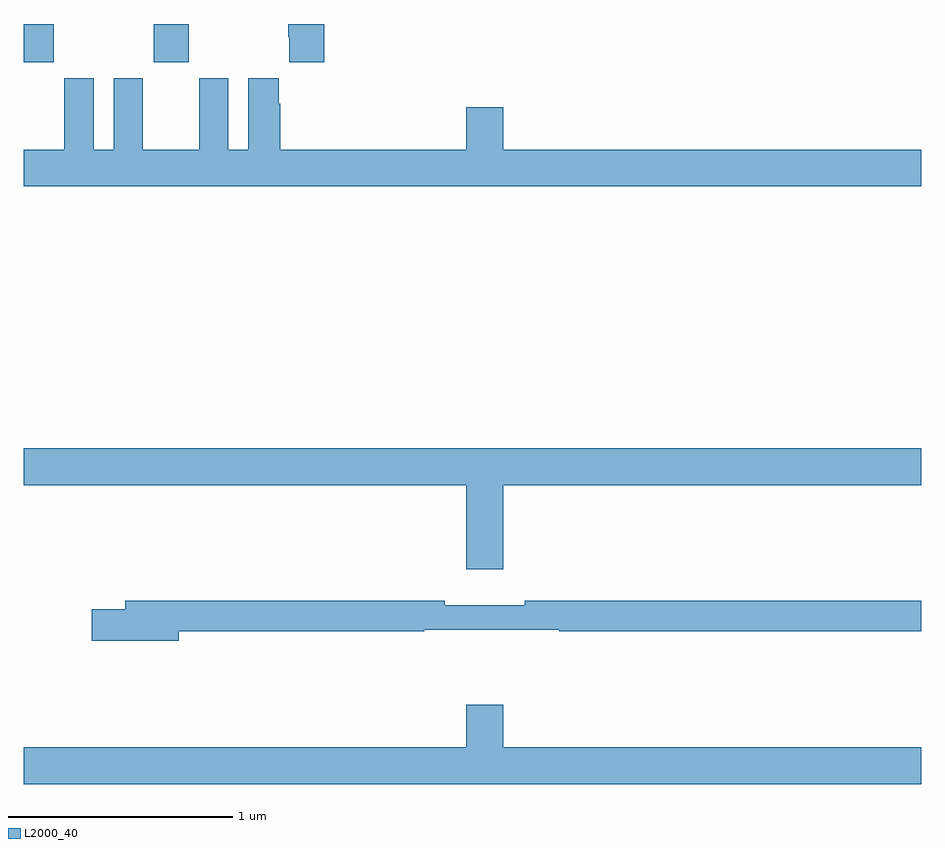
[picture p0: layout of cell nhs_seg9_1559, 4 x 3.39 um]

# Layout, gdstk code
import gdstk
lib = gdstk.Library(unit=1e-6, precision=1e-09)
def R(c, l, rs):  # rectangles x0, y0, x1, y1
    for r in rs: c.add(gdstk.rectangle(r[:2], r[2:], *l))
def P(c, l, *ps):  # polygons
    for p in ps: c.add(gdstk.Polygon(p, *l))
L2000_40 = (2000, 40)

nhs_seg9_1559 = lib.new_cell('nhs_seg9_1559')
R(nhs_seg9_1559, L2000_40, [(199,1174.329,199.134,1174.5), (199.579,1174.329,199.734,1174.5)])
P(nhs_seg9_1559, L2000_40, [(200.339,1174.5),(200.179,1174.5),(200.179,1174.441),(200.183,1174.441),(200.183,1174.329),(200.339,1174.329)],
  [(203,1173.94),(201.136,1173.94),(201.136,1174.129),(200.972,1174.129),(200.972,1173.94),(200.144,1173.94),(200.144,1174.145),(200.137,1174.145),(200.137,1174.258),(200,1174.258),(200,1173.94),(199.912,1173.94),(199.912,1174.258),(199.781,1174.258),(199.781,1173.94),(199.531,1173.94),(199.531,1174.258),(199.4,1174.258),(199.4,1173.94),(199.312,1173.94),(199.312,1174.258),(199.181,1174.258),(199.181,1173.94),(199,1173.94),(199,1173.776),(203,1173.776)],
  [(201.136,1172.444),(203,1172.444),(203,1172.608),(199,1172.608),(199,1172.444),(200.972,1172.444),(200.972,1172.07),(201.136,1172.07)],
  [(199.69,1171.792),(200.786,1171.792),(200.786,1171.8),(201.386,1171.8),(201.386,1171.792),(203,1171.792),(203,1171.928),(201.232,1171.928),(201.232,1171.909),(200.876,1171.909),(200.876,1171.928),(199.451,1171.928),(199.451,1171.892),(199.302,1171.892),(199.302,1171.75),(199.69,1171.75)],
  [(203,1171.276),(201.136,1171.276),(201.136,1171.465),(200.972,1171.465),(200.972,1171.276),(199,1171.276),(199,1171.112),(203,1171.112)])

lib.write_gds('nhs_seg9_1559.gds')
